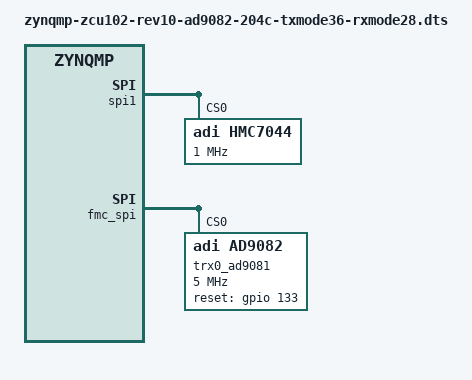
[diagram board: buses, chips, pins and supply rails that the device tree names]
// SPDX-License-Identifier: GPL-2.0
/*
 * Analog Devices AD9082-FMC-EBZ
 * https://wiki.analog.com/resources/eval/user-guides/quadmxfe/quick-start
 * https://wiki.analog.com/resources/tools-software/linux-drivers/iio-mxfe/ad9081
 *
 * hdl_project: <ad9082_fmca_ebz/zcu102>
 * board_revision: <>
 *
 * Copyright (C) 2022 Analog Devices Inc.
 */

// 204C use case with Subclass 1,
// Med. lane rate, using gearbox and PRGOGDIV
//     * 1Txs / 1Rxs per MxFE
//     * DAC_CLK = 3.84 GSPS
//     * ADC_CLK = 3.84 GSPS
//     * Tx I/Q Rate: 3.84 GSPS (Interpolation of 1x1)
//     * Rx I/Q Rate: 3.84 GSPS (Decimation of 1x1)
//     * DAC JESD204B: Mode 36, L=8, M=2, N=N'=12
//     * ADC JESD204B: Mode 28, L=8, M=2, N=N'=12
//     * DAC-Side JESD204C Lane Rate: 11.88Gbps
//     * ADC-Side JESD204C Lane Rate: 11.88Gbps

// HDL Synthesis Parameters:
// JESD_MODE=64B66B \
// RX_RATE=12 \
// TX_RATE=12 \
// RX_JESD_M=2 \
// RX_JESD_L=8 \
// RX_JESD_S=8 \
// RX_JESD_NP=12 \
// TX_JESD_M=2 \
// TX_JESD_L=8 \
// TX_JESD_S=8 \
// TX_JESD_NP=12 \

#include "zynqmp-zcu102-rev10-ad9081-m8-l4-do.dts"

// Enable PL FIFO due high data rates
&axi_ad9081_core_tx {
	adi,axi-pl-fifo-enable;
};

&axi_ad9081_rx_jesd {
	clocks = <&zynqmp_clk 71>, <&hmc7044 10>, <&axi_ad9081_adxcvr_rx 1>, <&axi_ad9081_adxcvr_rx 0>;
	clock-names = "s_axi_aclk", "device_clk", "link_clk", "lane_clk";
};

&axi_ad9081_tx_jesd {
	clocks = <&zynqmp_clk 71>, <&hmc7044 6>, <&axi_ad9081_adxcvr_tx 1>, <&axi_ad9081_adxcvr_tx 0>;
	clock-names = "s_axi_aclk", "device_clk", "link_clk", "lane_clk";
};

&axi_ad9081_adxcvr_rx {
	adi,sys-clk-select = <XCVR_QPLL>;
	adi,out-clk-select = <XCVR_PROGDIV_CLK>;
};

&axi_ad9081_adxcvr_tx {
	adi,sys-clk-select = <XCVR_QPLL>;
	adi,out-clk-select = <XCVR_PROGDIV_CLK>;
};

&spi1 {
	status = "okay";

	/delete-node/ hmc7044@0;

	hmc7044: hmc7044@0 {
		#address-cells = <1>;
		#size-cells = <0>;
		#clock-cells = <1>;
		compatible = "adi,hmc7044";
		reg = <0>;
		spi-max-frequency = <1000000>;

		jesd204-device;
		#jesd204-cells = <2>;
		jesd204-sysref-provider;

		adi,jesd204-max-sysref-frequency-hz = <2000000>; /* 2 MHz */

		/*
		 * There are different versions of the AD9081-FMCA-EBZ & AD9082-FMCA-EBZ
		 * VCXO = 122.880 MHz, XO = 122.880MHz (AD9081-FMC-EBZ & AD9082-FMC-EBZ)
		 * VCXO = 100.000 MHz, XO = 100.000MHz (AD9081-FMC-EBZ-A2 & AD9082-FMC-EBZ-A2)
		 * To determine which board is which, read the freqency printed on the VCXO
		 * or use the fru-dump utility:
		 * #fru-dump -b /sys/bus/i2c/devices/15-0050/eeprom
		 */

		//adi,pll1-clkin-frequencies = <122880000 30720000 0 0>;
		//adi,vcxo-frequency = <122880000>;

		adi,pll1-clkin-frequencies = <100000000 10000000 0 0>;
		adi,vcxo-frequency = <100000000>;

		adi,pll1-loop-bandwidth-hz = <200>;

		adi,pll2-output-frequency = <2880000000>;

		adi,sysref-timer-divider = <1024>;
		adi,pulse-generator-mode = <0>;

		adi,clkin0-buffer-mode  = <0x07>;
		adi,clkin1-buffer-mode  = <0x07>;
		adi,oscin-buffer-mode = <0x15>;

		adi,gpi-controls = <0x00 0x00 0x00 0x00>;
		adi,gpo-controls = <0x37 0x33 0x00 0x00>;

		clock-output-names =
			"hmc7044_out0", "hmc7044_out1", "hmc7044_out2",
			"hmc7044_out3", "hmc7044_out4", "hmc7044_out5",
			"hmc7044_out6", "hmc7044_out7", "hmc7044_out8",
			"hmc7044_out9", "hmc7044_out10", "hmc7044_out11",
			"hmc7044_out12", "hmc7044_out13";

		hmc7044_c0: channel@0 { // UNUSED
			reg = <0>;
			adi,extended-name = "CORE_CLK_RX";
			adi,divider = <48>;
			adi,driver-mode = <HMC7044_DRIVER_MODE_LVDS>;
			adi,disable; /* Completely disable channel */

		};
		hmc7044_c2: channel@2 {
			reg = <2>;
			adi,extended-name = "DEV_REFCLK";
			adi,divider = <4>; /* 720 MHz */
			adi,driver-mode = <HMC7044_DRIVER_MODE_LVDS>;
		};

		hmc7044_c3: channel@3 {
			reg = <3>;
			adi,extended-name = "DEV_SYSREF";
			adi,divider = <768>;
			adi,driver-mode = <HMC7044_DRIVER_MODE_LVDS>;
			adi,jesd204-sysref-chan;
			//adi,disable; /* Completely disable channel */
		};

		hmc7044_c6: channel@6 {
			reg = <6>;
			adi,extended-name = "CORE_CLK_TX";
			adi,divider = <24>;  // 120 MHz
			adi,driver-mode = <HMC7044_DRIVER_MODE_LVDS>;
		};

		hmc7044_c8: channel@8 { // UNUSED
			reg = <8>;
			adi,extended-name = "FPGA_REFCLK1";
			adi,divider = <64>;
			adi,driver-mode = <HMC7044_DRIVER_MODE_LVDS>;
			adi,disable; /* Completely disable channel */
		};

		hmc7044_c10: channel@10 {
			reg = <10>;
			adi,extended-name = "CORE_CLK_RX_ALT";
			adi,divider = <24>; // 120 MHz
			adi,driver-mode = <HMC7044_DRIVER_MODE_LVDS>;
		};

		hmc7044_c12: channel@12 {
			reg = <12>;
			adi,extended-name = "FPGA_REFCLK2";
			adi,divider = <16>;
			adi,driver-mode = <HMC7044_DRIVER_MODE_LVDS>;
		};

		hmc7044_c13: channel@13 {
			reg = <13>;
			adi,extended-name = "FPGA_SYSREF";
			adi,divider = <768>;
			adi,driver-mode = <HMC7044_DRIVER_MODE_LVDS>;
			adi,jesd204-sysref-chan;
			//adi,disable; /* Completely disable channel */
		};
	};
};

&fmc_spi {
	/delete-node/ ad9081@0;

	trx0_ad9081: ad9082@0 {
		#address-cells = <1>;
		#size-cells = <0>;
		compatible = "adi,ad9082";
		reg = <0>;
		spi-max-frequency = <5000000>;

		reset-gpios = <&gpio 133 0>;

		/* Clocks */
		clocks = <&hmc7044 2>;
		clock-names = "dev_clk";

		clock-output-names = "rx_sampl_clk", "tx_sampl_clk";
		#clock-cells = <1>;

		jesd204-device;
		#jesd204-cells = <2>;
		jesd204-top-device = <0>; /* This is the TOP device */
		jesd204-link-ids = <FRAMER_LINK0_RX DEFRAMER_LINK0_TX>;

		jesd204-inputs =
			<&axi_ad9081_core_rx 0 FRAMER_LINK0_RX>,
			<&axi_ad9081_core_tx 0 DEFRAMER_LINK0_TX>;

		adi,continuous-sysref-mode-disable;

		adi,tx-dacs {
			#size-cells = <0>;
			#address-cells = <1>;

			adi,dac-frequency-hz = /bits/ 64 <3840000000>;

			adi,main-data-paths {
				#address-cells = <1>;
				#size-cells = <0>;

				adi,interpolation = <1>;

				ad9081_dac0: dac@0 {
					reg = <0>;
					adi,crossbar-select = <&ad9081_tx_fddc_chan0>;
					adi,nco-frequency-shift-hz = /bits/ 64 <0>; /* 0 MHz */
				};

				ad9081_dac2: dac@2 {
					reg = <2>;
					adi,crossbar-select = <&ad9081_tx_fddc_chan1>;
					adi,maindp-dac-1x-non1x-crossbar-select = <1>; /* Required to map correct datapath !*/
					adi,nco-frequency-shift-hz = /bits/ 64 <0>; /* 0 MHz */
				};
			};

			adi,channelizer-paths {
				#address-cells = <1>;
				#size-cells = <0>;
				adi,interpolation = <1>;

				ad9081_tx_fddc_chan0: channel@0 {
					reg = <0>;
					adi,gain = <2048>; /* 2048 * 10^(gain_dB/20) */
					adi,nco-frequency-shift-hz =  /bits/ 64 <0>;

				};

				ad9081_tx_fddc_chan1: channel@1 {
					reg = <1>;
					adi,gain = <2048>; /* 2048 * 10^(gain_dB/20) */
					adi,nco-frequency-shift-hz =  /bits/ 64 <0>;

				};
			};

			adi,jesd-links {
				#size-cells = <0>;
				#address-cells = <1>;

				ad9081_tx_jesd_l0: link@0 {
					#address-cells = <1>;
					#size-cells = <0>;
					reg = <0>;

					adi,logical-lane-mapping = /bits/ 8 <0 2 7 6 1 5 4 3>;

					adi,link-mode = <36>;			/* JESD Quick Configuration Mode */
					adi,subclass = <1>;			/* JESD SUBCLASS 0,1,2 */
					adi,version = <2>;			/* JESD VERSION 0=204A,1=204B,2=204C */
					adi,dual-link = <0>;			/* JESD Dual Link Mode */

					adi,converters-per-device = <2>;	/* JESD M */
					adi,octets-per-frame = <3>;		/* JESD F */

					adi,frames-per-multiframe = <256>;	/* JESD K */
					adi,converter-resolution = <12>;	/* JESD N */
					adi,bits-per-sample = <12>;		/* JESD NP' */
					adi,control-bits-per-sample = <0>;	/* JESD CS */
					adi,lanes-per-device = <8>;		/* JESD L */
					adi,samples-per-converter-per-frame = <8>; /* JESD S */
					adi,high-density = <0>;			/* JESD HD */

					adi,tpl-phase-adjust = <25>;
				};
			};
		};

		adi,rx-adcs {
			#size-cells = <0>;
			#address-cells = <1>;

			adi,adc-frequency-hz = /bits/ 64 <3840000000>;

			adi,main-data-paths {
				#address-cells = <1>;
				#size-cells = <0>;

				ad9081_adc0: adc@0 {
					reg = <0>;
					adi,decimation = <1>;
					adi,nco-frequency-shift-hz =  /bits/ 64 <0>;
				};
				ad9081_adc1: adc@1 {
					reg = <1>;
					adi,decimation = <1>;
					adi,nco-frequency-shift-hz =  /bits/ 64 <0>;
				};
			};

			adi,channelizer-paths {
				#address-cells = <1>;
				#size-cells = <0>;

				ad9081_rx_fddc_chan0: channel@0 {
					reg = <0>;
					adi,decimation = <1>;
					adi,gain = <2048>; /* 2048 * 10^(gain_dB/20) */
					adi,nco-frequency-shift-hz =  /bits/ 64 <0>;
					adi,nco-mixer-mode = <AD9081_ADC_NCO_ZIF>;

				};

				ad9081_rx_fddc_chan1: channel@1 {
					reg = <1>;
					adi,decimation = <1>;
					adi,gain = <2048>; /* 2048 * 10^(gain_dB/20) */
					adi,nco-frequency-shift-hz =  /bits/ 64 <0>;
					adi,nco-mixer-mode = <AD9081_ADC_NCO_ZIF>;
				};
			};

			adi,jesd-links {
				#size-cells = <0>;
				#address-cells = <1>;

				ad9081_rx_jesd_l0: link@0 {
					reg = <0>;
					adi,converter-select =
						<&ad9081_rx_fddc_chan0 FDDC_I>, <&ad9081_rx_fddc_chan1 FDDC_I>;

					adi,logical-lane-mapping = /bits/ 8 <2 0 7 6 5 4 3 1>;

					adi,link-mode = <28>;			/* JESD Quick Configuration Mode */
					adi,subclass = <1>;			/* JESD SUBCLASS 0,1,2 */
					adi,version = <2>;			/* JESD VERSION 0=204A,1=204B,2=204C */
					adi,dual-link = <0>;			/* JESD Dual Link Mode */

					adi,converters-per-device = <2>;	/* JESD M */
					adi,octets-per-frame = <3>;		/* JESD F */

					adi,frames-per-multiframe = <256>;	/* JESD K */
					adi,converter-resolution = <12>;	/* JESD N */
					adi,bits-per-sample = <12>;		/* JESD NP' */
					adi,control-bits-per-sample = <0>;	/* JESD CS */
					adi,lanes-per-device = <8>;		/* JESD L */
					adi,samples-per-converter-per-frame = <8>; /* JESD S */
					adi,high-density = <0>;			/* JESD HD */
				};
			};
		};
	};
};

&axi_ad9081_core_tx {
	single-shot-output-gpios = <&gpio 139 0>;
};
